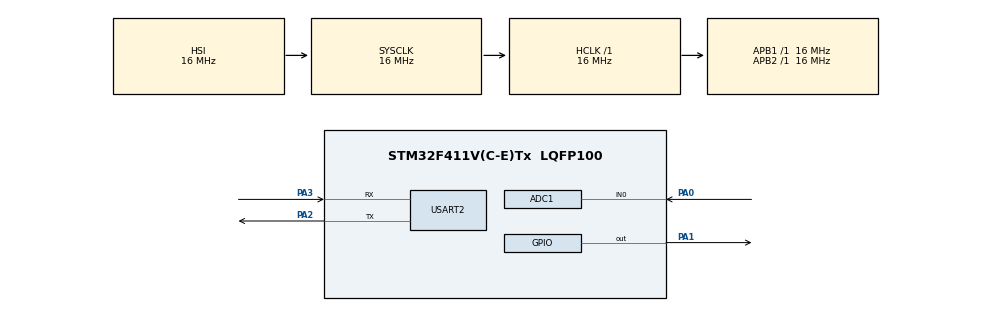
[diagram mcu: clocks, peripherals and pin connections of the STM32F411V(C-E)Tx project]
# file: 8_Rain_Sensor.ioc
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Mcu.Family=STM32F4
Dma.ADC1.0.Instance=DMA2_Stream0
RCC.CortexFreq_Value=16000000
ADC1.Rank-0\#ChannelRegularConversion=1
ADC1.ContinuousConvMode=ENABLE
PH1\ -\ OSC_OUT.Mode=HSE-External-Oscillator
ProjectManager.StackSize=0x400
PA0-WKUP.Signal=ADCx_IN0
PA13.Signal=SYS_JTMS-SWDIO
PA3.Mode=Asynchronous
Dma.ADC1.0.PeriphDataAlignment=DMA_PDATAALIGN_HALFWORD
PH0\ -\ OSC_IN.Mode=HSE-External-Oscillator
PH0\ -\ OSC_IN.Signal=RCC_OSC_IN
ProjectManager.TargetToolchain=STM32CubeIDE
Dma.ADC1.0.Mode=DMA_CIRCULAR
Dma.ADC1.0.Priority=DMA_PRIORITY_LOW
Dma.ADC1.0.Direction=DMA_PERIPH_TO_MEMORY
NVIC.DMA2_Stream0_IRQn=true\:0\:0\:false\:false\:true\:false\:true
RCC.LSE_VALUE=32768
Dma.ADC1.0.MemDataAlignment=DMA_MDATAALIGN_HALFWORD
PA1.Signal=GPIO_Output
RCC.AHBFreq_Value=16000000
ADC1.Channel-0\#ChannelRegularConversion=ADC_CHANNEL_0
RCC.HSE_VALUE=25000000
PH1\ -\ OSC_OUT.Signal=RCC_OSC_OUT
ADC1.ScanConvMode=ENABLE
board=custom
RCC.VCOOutputFreq_Value=192000000
RCC.APB2Freq_Value=16000000
PA14.Mode=Serial_Wire
Dma.ADC1.0.PeriphInc=DMA_PINC_DISABLE
SH.ADCx_IN0.0=ADC1_IN0,IN0
ADC1.DMAContinuousRequests=ENABLE
PA13.Mode=Serial_Wire
Mcu.Name=STM32F411V(C-E)Tx
ADC1.SamplingTime-0\#ChannelRegularConversion=ADC_SAMPLETIME_144CYCLES
PA2.Signal=USART2_TX
RCC.SYSCLKFreq_VALUE=16000000
Mcu.Package=LQFP100
ADC1.master=1
USART2.VirtualMode=VM_ASYNC
PA14.Signal=SYS_JTCK-SWCLK
Dma.ADC1.0.MemInc=DMA_MINC_ENABLE
ProjectManager.HeapSize=0x200
RCC.HSI_VALUE=16000000
NVIC.PriorityGroup=NVIC_PRIORITYGROUP_4
ADC1.NbrOfConversionFlag=1
PA2.Mode=Asynchronous
Dma.ADC1.0.FIFOMode=DMA_FIFOMODE_DISABLE
Dma.Request0=ADC1
RCC.APB1Freq_Value=16000000
PA3.Signal=USART2_RX

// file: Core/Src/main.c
/* USER CODE BEGIN Header */
/**
  ******************************************************************************
  * @file           : main.c
  * @brief          : Main program body
  ******************************************************************************
  * @attention
  *
  * <h2><center>&copy; Copyright (c) 2021 STMicroelectronics.
  * All rights reserved.</center></h2>
  *
  * This software component is licensed by ST under BSD 3-Clause license,
  * the "License"; You may not use this file except in compliance with the
  * License. You may obtain a copy of the License at:
  *                        opensource.org/licenses/BSD-3-Clause
  *
  ******************************************************************************
  */
/* USER CODE END Header */
#include "main.h"

/* USER CODE BEGIN Includes */
#include"Uart.h"
/* USER CODE END Includes */

ADC_HandleTypeDef hadc1;
DMA_HandleTypeDef hdma_adc1;

UART_HandleTypeDef huart2;

/* USER CODE BEGIN PV */
uint32_t adc[1];
/* USER CODE END PV */

void SystemClock_Config(void);
static void MX_GPIO_Init(void);
static void MX_DMA_Init(void);
static void MX_ADC1_Init(void);
static void MX_USART2_UART_Init(void);

/* USER CODE BEGIN 0 */
long map(long x, long in_min, long in_max, long out_min, long out_max) {
  return (x - in_min) * (out_max - out_min) / (in_max - in_min) + out_min;
}
/* USER CODE END 0 */

int main(void)
{

  /* MCU Configuration--------------------------------------------------------*/

  /* Reset of all peripherals, Initializes the Flash interface and the Systick. */
  HAL_Init();

  /* Configure the system clock */
  SystemClock_Config();

  /* Initialize all configured peripherals */
  MX_GPIO_Init();
  MX_DMA_Init();
  MX_ADC1_Init();
  MX_USART2_UART_Init();
  /* USER CODE BEGIN 2 */
  HAL_ADC_Start_DMA(&hadc1, adc, 1);
  /* USER CODE END 2 */

  /* Infinite loop */
  while (1)
  {

    /* USER CODE BEGIN 3 */
	  float virtueVoltage = *adc*3.3f/4095;
	  		float realisticVoltage = 1.67f*virtueVoltage;
	  		uint16_t realisticAdc = realisticVoltage*4095/5 ;//Vin = Vref*adc/4098

	  		SendConstChar("virtue ADC: ", huart2);
	  		SendUnsignedNumber(*adc, huart2);
	  		SendConstChar("\n ", huart2);
	  		SendConstChar("virtue Voltage: ", huart2);
	  		SendFloatLn(virtueVoltage, huart2);

	  		SendConstChar("realistic ADC: ", huart2);
	  		SendUnsignedNumber((uint32_t)realisticAdc, huart2);
	  		SendConstChar("\n ", huart2);
	  		SendConstChar("Realistic Voltage: ", huart2);
	  		SendFloatLn(realisticVoltage, huart2);
	  		uint8_t range = (uint8_t)map(realisticAdc,0,4095,0,3);
	  		switch(range)
	  		{
	  		case 0:
		  		SendConstCharLn("Flood", huart2);
	  			break;
	  		case 1:
		  		SendConstCharLn("Rain", huart2);
	  			break;
	  		case 2:
		  		SendConstCharLn("Dry", huart2);
	  			break;
	  		}
	  HAL_Delay(1000);
  }
  /* USER CODE END 3 */
}

void SystemClock_Config(void)
{
  RCC_OscInitTypeDef RCC_OscInitStruct = {0};
  RCC_ClkInitTypeDef RCC_ClkInitStruct = {0};

  /** Configure the main internal regulator output voltage
  */
  __HAL_RCC_PWR_CLK_ENABLE();
  __HAL_PWR_VOLTAGESCALING_CONFIG(PWR_REGULATOR_VOLTAGE_SCALE1);
  /** Initializes the RCC Oscillators according to the specified parameters
  * in the RCC_OscInitTypeDef structure.
  */
  RCC_OscInitStruct.OscillatorType = RCC_OSCILLATORTYPE_HSI;
  RCC_OscInitStruct.HSIState = RCC_HSI_ON;
  RCC_OscInitStruct.HSICalibrationValue = RCC_HSICALIBRATION_DEFAULT;
  RCC_OscInitStruct.PLL.PLLState = RCC_PLL_NONE;
  if (HAL_RCC_OscConfig(&RCC_OscInitStruct) != HAL_OK)
  {
    Error_Handler();
  }
  /** Initializes the CPU, AHB and APB buses clocks
  */
  RCC_ClkInitStruct.ClockType = RCC_CLOCKTYPE_HCLK|RCC_CLOCKTYPE_SYSCLK
                              |RCC_CLOCKTYPE_PCLK1|RCC_CLOCKTYPE_PCLK2;
  RCC_ClkInitStruct.SYSCLKSource = RCC_SYSCLKSOURCE_HSI;
  RCC_ClkInitStruct.AHBCLKDivider = RCC_SYSCLK_DIV1;
  RCC_ClkInitStruct.APB1CLKDivider = RCC_HCLK_DIV1;
  RCC_ClkInitStruct.APB2CLKDivider = RCC_HCLK_DIV1;

  if (HAL_RCC_ClockConfig(&RCC_ClkInitStruct, FLASH_LATENCY_0) != HAL_OK)
  {
    Error_Handler();
  }
}

static void MX_ADC1_Init(void)
{

  ADC_ChannelConfTypeDef sConfig = {0};

  /** Configure the global features of the ADC (Clock, Resolution, Data Alignment and number of conversion)
  */
  hadc1.Instance = ADC1;
  hadc1.Init.ClockPrescaler = ADC_CLOCK_SYNC_PCLK_DIV2;
  hadc1.Init.Resolution = ADC_RESOLUTION_12B;
  hadc1.Init.ScanConvMode = ENABLE;
  hadc1.Init.ContinuousConvMode = ENABLE;
  hadc1.Init.DiscontinuousConvMode = DISABLE;
  hadc1.Init.ExternalTrigConvEdge = ADC_EXTERNALTRIGCONVEDGE_NONE;
  hadc1.Init.ExternalTrigConv = ADC_SOFTWARE_START;
  hadc1.Init.DataAlign = ADC_DATAALIGN_RIGHT;
  hadc1.Init.NbrOfConversion = 1;
  hadc1.Init.DMAContinuousRequests = ENABLE;
  hadc1.Init.EOCSelection = ADC_EOC_SINGLE_CONV;
  if (HAL_ADC_Init(&hadc1) != HAL_OK)
  {
    Error_Handler();
  }
  /** Configure for the selected ADC regular channel its corresponding rank in the sequencer and its sample time.
  */
  sConfig.Channel = ADC_CHANNEL_0;
  sConfig.Rank = 1;
  sConfig.SamplingTime = ADC_SAMPLETIME_144CYCLES;
  if (HAL_ADC_ConfigChannel(&hadc1, &sConfig) != HAL_OK)
  {
    Error_Handler();
  }

}

static void MX_USART2_UART_Init(void)
{

  huart2.Instance = USART2;
  huart2.Init.BaudRate = 115200;
  huart2.Init.WordLength = UART_WORDLENGTH_8B;
  huart2.Init.StopBits = UART_STOPBITS_1;
  huart2.Init.Parity = UART_PARITY_NONE;
  huart2.Init.Mode = UART_MODE_TX_RX;
  huart2.Init.HwFlowCtl = UART_HWCONTROL_NONE;
  huart2.Init.OverSampling = UART_OVERSAMPLING_16;
  if (HAL_UART_Init(&huart2) != HAL_OK)
  {
    Error_Handler();
  }

}

static void MX_DMA_Init(void)
{

  /* DMA controller clock enable */
  __HAL_RCC_DMA2_CLK_ENABLE();

  /* DMA interrupt init */
  /* DMA2_Stream0_IRQn interrupt configuration */
  HAL_NVIC_SetPriority(DMA2_Stream0_IRQn, 0, 0);
  HAL_NVIC_EnableIRQ(DMA2_Stream0_IRQn);

}

static void MX_GPIO_Init(void)
{
  GPIO_InitTypeDef GPIO_InitStruct = {0};

  /* GPIO Ports Clock Enable */
  __HAL_RCC_GPIOH_CLK_ENABLE();
  __HAL_RCC_GPIOA_CLK_ENABLE();

  /*Configure GPIO pin Output Level */
  HAL_GPIO_WritePin(GPIOA, GPIO_PIN_1, GPIO_PIN_RESET);

  /*Configure GPIO pin : PA1 */
  GPIO_InitStruct.Pin = GPIO_PIN_1;
  GPIO_InitStruct.Mode = GPIO_MODE_OUTPUT_PP;
  GPIO_InitStruct.Pull = GPIO_NOPULL;
  GPIO_InitStruct.Speed = GPIO_SPEED_FREQ_LOW;
  HAL_GPIO_Init(GPIOA, &GPIO_InitStruct);

}

void Error_Handler(void)
{
  __disable_irq();
  while (1)
  {
  }
}

/************************ (C) COPYRIGHT STMicroelectronics *****END OF FILE****/
